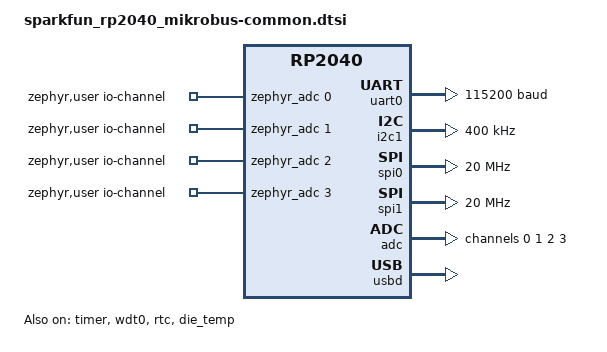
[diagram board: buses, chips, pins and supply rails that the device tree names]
/*
 * SPDX-FileCopyrightText: Copyright (c) 2026 Navimatix GmbH
 * SPDX-FileCopyrightText: Copyright (c) 2026 TiaC Systems
 * SPDX-License-Identifier: Apache-2.0
 */

#include <freq.h>
#include <raspberrypi/rpi_pico/rp2040.dtsi>
#include <zephyr/dt-bindings/pinctrl/rpi-pico-rp2040-pinctrl.h>
#include <zephyr/dt-bindings/i2c/i2c.h>

#include "sparkfun_rp2040_mikrobus-pinctrl.dtsi"

/ {
	chosen {
		zephyr,sram = &sram0;
		zephyr,console = &uart0;
		zephyr,shell-uart = &uart0;
	};

	aliases {
		rtc = &rtc;
		watchdog0 = &wdt0;
	};

	zephyr,user {
		io-channels = <&zephyr_adc 0>, /* Feather & mikroBus */
			      <&zephyr_adc 1>, /* Feather */
			      <&zephyr_adc 2>, /* Feather */
			      <&zephyr_adc 3>; /* Feather */
	};
};

&vreg {
	regulator-always-on;
	regulator-allowed-modes = <REGULATOR_RPI_PICO_MODE_NORMAL>;
};

&timer {
	status = "okay";
};

&wdt0 {
	status = "okay";
};

&rtc {
	status = "okay";
	clocks = <&clocks RPI_PICO_CLKID_CLK_RTC>;
};

zephyr_serial: &uart0 {
	status = "okay";
	pinctrl-0 = <&uart0_default>;
	pinctrl-names = "default";
	current-speed = <115200>;
};

zephyr_i2c: &i2c1 {
	pinctrl-0 = <&i2c1_default>;
	pinctrl-names = "default";
	clock-frequency = <I2C_BITRATE_FAST>;
};

zephyr_spi: &spi0 {
	pinctrl-0 = <&spi0_default>;
	pinctrl-names = "default";
	clock-frequency = <DT_FREQ_M(20)>;
};

&spi1 {
	pinctrl-0 = <&spi1_default>;
	pinctrl-names = "default";
	clock-frequency = <DT_FREQ_M(20)>;
};

zephyr_adc: &adc {
	status = "okay";
	pinctrl-0 = <&adc_default>;
	pinctrl-names = "default";
	#address-cells = <1>;
	#size-cells = <0>;

	channel@0 {
		reg = <0>;
		zephyr,gain = "ADC_GAIN_1";
		zephyr,reference = "ADC_REF_INTERNAL";
		zephyr,acquisition-time = <ADC_ACQ_TIME_DEFAULT>;
		zephyr,resolution = <12>;
	};

	channel@1 {
		reg = <1>;
		zephyr,gain = "ADC_GAIN_1";
		zephyr,reference = "ADC_REF_INTERNAL";
		zephyr,acquisition-time = <ADC_ACQ_TIME_DEFAULT>;
		zephyr,resolution = <12>;
	};

	channel@2 {
		reg = <2>;
		zephyr,gain = "ADC_GAIN_1";
		zephyr,reference = "ADC_REF_INTERNAL";
		zephyr,acquisition-time = <ADC_ACQ_TIME_DEFAULT>;
		zephyr,resolution = <12>;
	};

	channel@3 {
		reg = <3>;
		zephyr,gain = "ADC_GAIN_1";
		zephyr,reference = "ADC_REF_INTERNAL";
		zephyr,acquisition-time = <ADC_ACQ_TIME_DEFAULT>;
		zephyr,resolution = <12>;
	};
};

&die_temp {
	status = "okay";
};

zephyr_udc0: &usbd {
	status = "okay";
};
